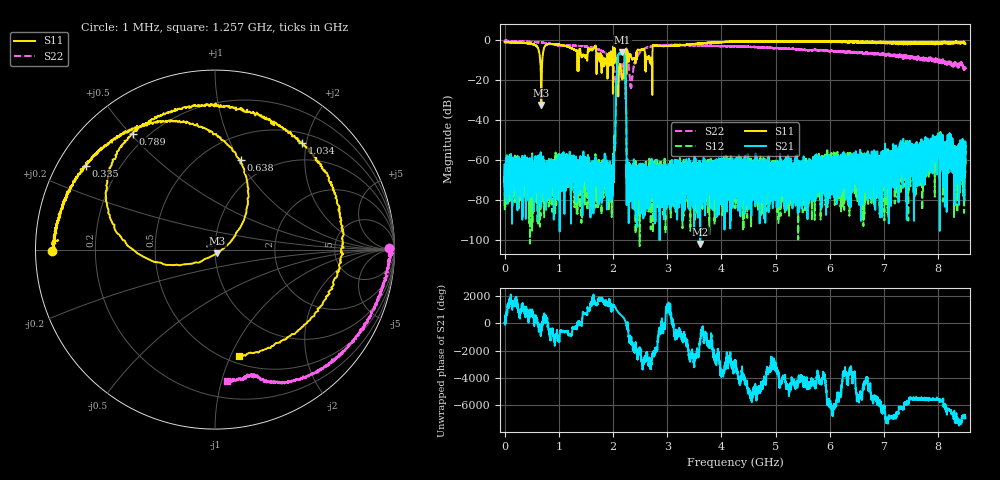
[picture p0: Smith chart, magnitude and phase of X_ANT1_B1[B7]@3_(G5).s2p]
#  HZ  S  RI  R  50.00
! Rohde & Schwarz Vector Network Analyzer
! Rohde-Schwarz,ZNBT8-20Port,1318700624101681,3.50
! Created: UTC 7/15/2025, 2:13:35 PM
! freq[Hz]  re:S1010  im:S1010  re:S0310  im:S0310  re:S1003  im:S1003  re:S33  im:S33
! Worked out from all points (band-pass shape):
!   8500 points, 1 MHz to 8.5 GHz, reference 50 ohm
!   highest |S21| = -6.11 dB at 2.172 GHz (marker M1); lowest = -102.1 dB at 3.609 GHz (marker M2)
!   |S21| within 3 dB of the highest: 2.086 GHz to 2.219 GHz (132.3 MHz wide, 6.15 % of centre)
!   lowest |S11| = -32.4 dB at 678 MHz (marker M3), VSWR 1.05, Z = 51.3 - j2.06 ohm
!   |S11| at or under -10 dB: 657.8 MHz to 696.4 MHz (38.66 MHz wide, 5.71 % of centre); 1.821 GHz to 1.839 GHz (17.46 MHz wide, 0.954 % of centre); 2.062 GHz to 2.213 GHz (150.5 MHz wide, 7.04 % of centre)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
!   |S22| runs from -32.4 to -0.1 dB; largest |S21 - S12| = 0.023
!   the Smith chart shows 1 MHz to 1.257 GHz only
!   S11 on the Smith chart (normalised r, x): 1 MHz: 0.05, -0.00; 335 MHz: 0.08, +0.29; 638 MHz: 0.74, +1.01; 789 MHz: 0.15, +0.51; 1.034 GHz: 0.67, +1.92; 1.257 GHz: 0.57, -1.07
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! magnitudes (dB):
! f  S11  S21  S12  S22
! 1 MHz  -0.8  -75.1  -71.0  -0.3
! 335 MHz  -1.3  -70.7  -71.1  -0.6
! 638 MHz  -5.7  -69.9  -83.8  -1.0
! 678 MHz  -32.4  -61.8  -64.0  -1.2
! 789 MHz  -2.0  -68.2  -63.6  -1.5
! 1.034 GHz  -2.3  -62.2  -63.1  -2.7
! 1.257 GHz  -4.3  -65.3  -65.1  -2.7
! 1.418 GHz  -8.2  -69.5  -91.6  -2.9
! 1.956 GHz  -6.3  -69.7  -75.9  -9.2
! 2.008 GHz  -3.1  -63.1  -59.8  -13.2
! 2.093 GHz  -22.3  -7.5  -7.7  -11.6
! 2.172 GHz  -19.6  -6.1  -6.2  -12.0
! 2.207 GHz  -13.4  -6.9  -6.8  -13.6
! 2.293 GHz  -9.9  -61.9  -68.8  -13.1
! 2.342 GHz  -9.0  -76.8  -65.2  -21.9
! 2.834 GHz  -2.8  -71.6  -69.9  -2.6
! 3.609 GHz  -1.6  -102.1  -64.6  -2.6
! 4.251 GHz  -0.6  -69.2  -67.3  -3.0
! 5.667 GHz  -0.4  -62.3  -70.5  -4.9
! 7.084 GHz  -1.0  -58.4  -58.5  -7.1
! 8.018 GHz  -1.5  -49.2  -49.0  -10.8
! 8.5 GHz  -1.8  -57.2  -63.8  -13.7
